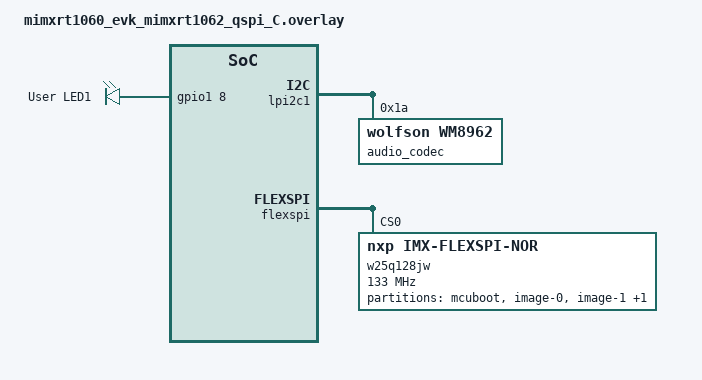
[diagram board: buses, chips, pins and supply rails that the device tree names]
/*
 * Copyright (c) 2022, Whisper.ai
 *
 * SPDX-License-Identifier: Apache-2.0
 */

/ {
	chosen {
		zephyr,flash-controller = &w25q128jw;
		zephyr,flash = &w25q128jw;
	};

	aliases {
		i2s-codec-tx = &sai1;
		i2s-tx = &sai1;
	};

	/* FLEXPWM not routed to LED on this EVK */
	pwmleds {
		status = "disabled";
	};
};

/* FLEXPWM not routed to LED on this EVK */
&flexpwm2_pwm3 {
	status = "disabled";
};

&green_led {
	gpios = <&gpio1 8 GPIO_ACTIVE_HIGH>;
	label = "User LED1";
};

&lpi2c1 {
	pinctrl-0 = <&pinmux_lpi2c1>;
	pinctrl-names = "default";
	#address-cells = <1>;
	#size-cells = <0>;

	audio_codec: wm8962@1a {
		compatible = "wolfson,wm8962";
		reg = <0x1a>;
		clocks = <&ccm IMX_CCM_SAI1_CLK 0x7C 18>;
		clock-names = "mclk";
	};

};

/* MIMXRT1060-EVK/EVKB have the is25wp064 flash module, but EVKC has w25q128jw */

/delete-node/ &is25wp064;

&flexspi {
	reg = <0x402a8000 0x4000>, <0x60000000 DT_SIZE_M(16)>;

	w25q128jw: w25q128jw@0 {
		compatible = "nxp,imx-flexspi-nor";
		size = <DT_SIZE_M(16*8)>;
		reg = <0>;
		spi-max-frequency = <133000000>;
		status = "okay";
		jedec-id = [ef 60 18];
		erase-block-size = <4096>;
		write-block-size = <1>;

		partitions {
			compatible = "fixed-partitions";
			#address-cells = <1>;
			#size-cells = <1>;

			/*
			 * Partition sizes must be aligned
			 * to the flash memory sector size of 4KB.
			 */
			boot_partition: partition@0 {
				label = "mcuboot";
				reg = <0x00000000 DT_SIZE_K(128)>;
			};
			slot0_partition: partition@20000 {
				label = "image-0";
				reg = <0x00020000 DT_SIZE_M(7)>;
			};
			slot1_partition: partition@720000 {
				label = "image-1";
				reg = <0x00720000 DT_SIZE_M(7)>;
			};
			storage_partition: partition@E20000 {
				label = "storage";
				reg = <0x00E20000 (DT_SIZE_M(2) - DT_SIZE_K(128))>;
			};
		};
	};
};
